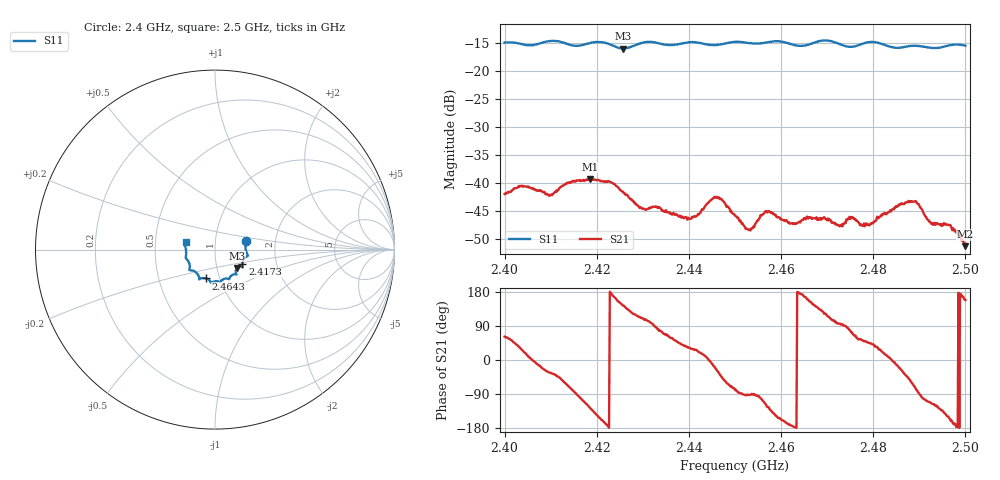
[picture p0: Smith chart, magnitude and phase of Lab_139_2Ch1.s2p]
# Hz S RI R 50
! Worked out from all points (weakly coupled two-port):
!   601 points, 2.4 GHz to 2.5 GHz, reference 50 ohm
!   highest |S21| = -39.29 dB at 2.4185 GHz (marker M1); lowest = -51.3 dB at 2.5 GHz (marker M2)
!   lowest |S11| = -15.9 dB at 2.4257 GHz (marker M3), VSWR 1.38, Z = 62.5 - j13.1 ohm
!   |S11| at or under -10 dB: start of sweep to end of sweep
!   S12 and S22 are empty: the file has one direction only
!   S11 on the Smith chart (normalised r, x): 2.4 GHz: 1.41, +0.14; 2.4173 GHz: 1.34, -0.23; 2.4643 GHz: 0.86, -0.28; 2.5 GHz: 0.72, +0.06
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2.4e9  0.1733 0.0492  0.00382 0.00702  0 0  0 0
2.403833e9  0.1721 0.0268  0.00852 0.00416  0 0  0 0
2.41e9  0.1833 -0.0323  0.00648 -0.00432  0 0  0 0
2.416667e9  0.1534 -0.0748  -0.00234 -0.0102  0 0  0 0
2.417333e9  0.1526 -0.0824  -0.00373 -0.00975  0 0  0 0
2.4185e9  0.1528 -0.0924  -0.00642 -0.00876  0 0  0 0
2.425667e9  0.1226 -0.1019  -0.00676 0.00496  0 0  0 0
2.429667e9  0.1174 -0.1347  -0.0022 0.00558  0 0  0 0
2.433333e9  0.113 -0.1373  0.000856 0.00594  0 0  0 0
2.440167e9  0.0791 -0.1637  0.00404 0.00256  0 0  0 0
2.446e9  0.0476 -0.1646  0.00663 -0.00331  0 0  0 0
2.45e9  0.0294 -0.1808  0.000998 -0.00503  0 0  0 0
2.452833e9  0.0184 -0.1779  -0.000105 -0.00385  0 0  0 0
2.457e9  -0.0134 -0.1809  -0.00306 -0.00453  0 0  0 0
2.464333e9  -0.0499 -0.1607  -0.00456 0.000485  0 0  0 0
2.466667e9  -0.076 -0.1596  -0.00411 0.00244  0 0  0 0
2.478667e9  -0.1392 -0.1154  0.00285 0.0031  0 0  0 0
2.483333e9  -0.1407 -0.0902  0.00547 0.000698  0 0  0 0
2.488833e9  -0.1624 -0.0464  0.00249 -0.00637  0 0  0 0
2.4925e9  -0.1604 -0.0199  -0.00172 -0.00403  0 0  0 0
2.4965e9  -0.1684 0.023  -0.00378 -0.00185  0 0  0 0
2.5e9  -0.1635 0.0418  -0.00253 0.00102  0 0  0 0
